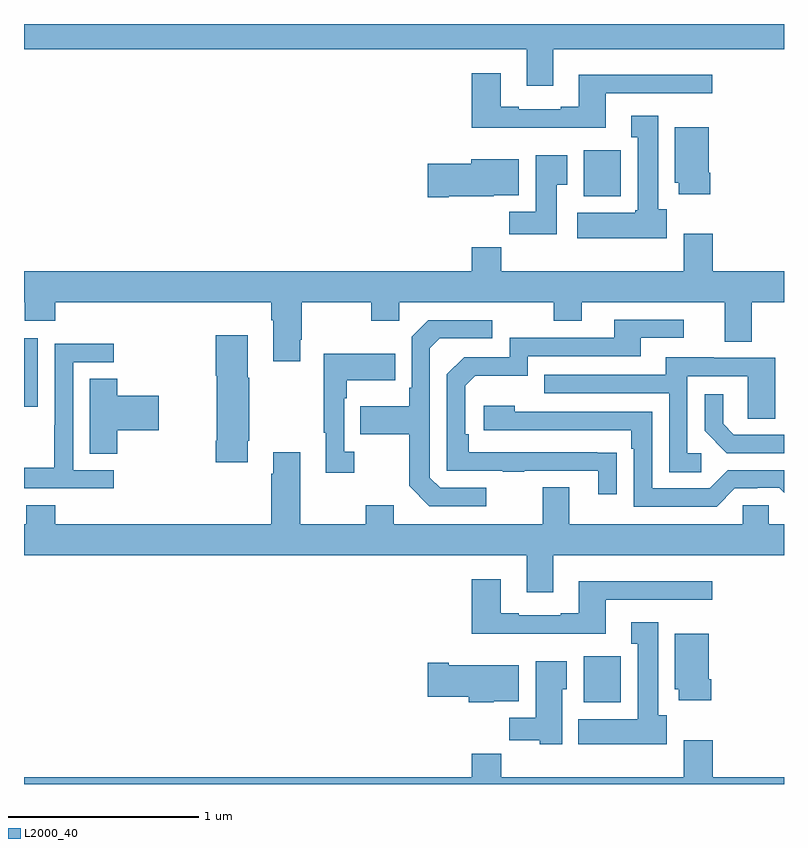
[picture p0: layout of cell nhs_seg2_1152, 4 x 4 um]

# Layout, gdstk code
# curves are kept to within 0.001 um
import gdstk
lib = gdstk.Library(unit=1e-6, precision=1e-09)
def R(c, l, rs):  # rectangles x0, y0, x1, y1
    for r in rs: c.add(gdstk.rectangle(r[:2], r[2:], *l))
def P(c, l, *ps):  # polygons
    for p in ps: c.add(gdstk.Polygon(p, *l))
L2000_40 = (2000, 40)

nhs_seg2_1152 = lib.new_cell('nhs_seg2_1152')
R(nhs_seg2_1152, L2000_40, [(173.945,612.23,174.142,612.472), (171,613.785,171.073,614.146), (173.945,614.894,174.142,615.136)])
P(nhs_seg2_1152, L2000_40, [(173.785,615.668),(175,615.668),(175,615.8),(171,615.8),(171,615.668),(173.645,615.668),(173.645,615.474),(173.785,615.474)],
  [(174.061,615.435),(174.622,615.435),(174.622,615.532),(173.921,615.532),(173.921,615.364),(173.825,615.364),(173.825,615.351),(173.605,615.351),(173.605,615.364),(173.509,615.364),(173.509,615.541),(173.357,615.541),(173.357,615.254),(174.061,615.254)],
  [(174.382,614.826),(174.337,614.826),(174.337,615.316),(174.197,615.316),(174.197,615.203),(174.23,615.203),(174.23,614.82),(174.217,614.82),(174.217,614.806),(173.913,614.806),(173.913,614.672),(174.382,614.672)],
  [(174.612,615.016),(174.604,615.016),(174.604,615.256),(174.425,615.256),(174.425,614.964),(174.446,614.964),(174.446,614.904),(174.612,614.904)],
  [(173.803,614.953),(173.86,614.953),(173.86,615.109),(173.693,615.109),(173.693,614.812),(173.554,614.812),(173.554,614.694),(173.803,614.694)],
  [(173.236,614.894),(173.472,614.894),(173.472,614.9),(173.605,614.9),(173.605,615.088),(173.354,615.088),(173.354,615.065),(173.124,615.065),(173.124,614.887),(173.236,614.887)],
  [(172.453,614.137),(172.461,614.137),(172.461,614.336),(172.828,614.336),(172.828,614.237),(172.974,614.237),(172.974,614.336),(173.788,614.336),(173.788,614.237),(173.935,614.237),(173.935,614.336),(174.689,614.336),(174.689,614.128),(174.829,614.128),(174.829,614.336),(175,614.336),(175,614.5),(174.626,614.5),(174.626,614.695),(174.473,614.695),(174.473,614.5),(173.513,614.5),(173.513,614.624),(173.357,614.624),(173.357,614.5),(171,614.5),(171,614.336),(171.004,614.336),(171.004,614.237),(171.164,614.237),(171.164,614.336),(172.301,614.336),(172.301,614.24),(172.313,614.24),(172.313,614.025),(172.453,614.025)],
  [(174.119,613.544),(173.342,613.545),(173.342,613.642),(173.322,613.642),(173.322,613.896),(173.375,613.949),(173.652,613.949),(173.652,614.052),(174.247,614.052),(174.247,614.148),(174.472,614.148),(174.472,614.244),(174.107,614.244),(174.107,614.148),(173.556,614.148),(173.556,614.046),(173.316,614.046),(173.226,613.956),(173.226,613.449),(173.521,613.449),(173.521,613.444),(173.633,613.444),(173.633,613.449),(174.023,613.449),(174.023,613.326),(174.119,613.326)],
  [(173.434,613.359),(173.19,613.359),(173.136,613.413),(173.136,614.094),(173.187,614.145),(173.464,614.145),(173.464,614.241),(173.127,614.241),(173.04,614.154),(173.04,613.885),(173.028,613.885),(173.028,613.789),(172.771,613.789),(172.771,613.642),(173.028,613.642),(173.028,613.369),(173.133,613.263),(173.434,613.263)],
  [(172.177,613.606),(172.185,613.606),(172.185,613.937),(172.177,613.937),(172.177,614.161),(172.01,614.161),(172.01,613.948),(172.015,613.948),(172.015,613.606),(172.01,613.606),(172.01,613.494),(172.177,613.494)],
  [(171.472,613.452),(171.258,613.452),(171.258,614.019),(171.472,614.019),(171.472,614.118),(171.162,614.118),(171.162,613.688),(171.16,613.688),(171.16,613.465),(171,613.465),(171,613.356),(171.472,613.356)],
  [(172.738,613.55),(172.686,613.55),(172.686,613.829),(172.699,613.829),(172.699,613.925),(172.955,613.925),(172.955,614.065),(172.578,614.065),(172.578,613.649),(172.589,613.649),(172.589,613.437),(172.738,613.437)],
  [(174.565,613.542),(174.492,613.542),(174.492,613.947),(174.81,613.947),(174.81,613.723),(174.955,613.723),(174.955,614.043),(174.631,614.043),(174.631,614.047),(174.377,614.047),(174.377,613.953),(173.737,613.953),(173.737,613.857),(174.396,613.857),(174.396,613.441),(174.565,613.441)],
  [(171.491,613.661),(171.709,613.661),(171.709,613.844),(171.491,613.844),(171.491,613.934),(171.347,613.934),(171.347,613.537),(171.491,613.537)],
  [(175,613.638),(174.736,613.638),(174.679,613.695),(174.679,613.852),(174.582,613.852),(174.582,613.658),(174.698,613.542),(175,613.542)],
  [(174.741,613.356),(174.86,613.356),(174.86,613.359),(174.975,613.359),(175,613.334),(175,613.452),(174.705,613.452),(174.609,613.356),(174.306,613.356),(174.306,613.758),(173.582,613.758),(173.582,613.792),(173.421,613.792),(173.421,613.662),(174.197,613.662),(174.197,613.565),(174.21,613.565),(174.21,613.26),(174.645,613.26)],
  [(173.785,613.004),(175,613.004),(175,613.168),(174.921,613.168),(174.921,613.266),(174.783,613.266),(174.783,613.168),(173.869,613.168),(173.869,613.363),(173.729,613.363),(173.729,613.168),(172.945,613.168),(172.945,613.267),(172.798,613.267),(172.798,613.168),(172.453,613.168),(172.453,613.546),(172.313,613.546),(172.313,613.433),(172.301,613.433),(172.301,613.168),(171.164,613.168),(171.164,613.267),(171.011,613.267),(171.011,613.168),(171,613.168),(171,613.004),(173.645,613.004),(173.645,612.81),(173.785,612.81)],
  [(174.061,612.771),(174.622,612.771),(174.622,612.868),(173.921,612.868),(173.921,612.7),(173.825,612.7),(173.825,612.687),(173.605,612.687),(173.605,612.7),(173.509,612.7),(173.509,612.877),(173.357,612.877),(173.357,612.59),(174.061,612.59)],
  [(174.382,612.162),(174.337,612.162),(174.337,612.652),(174.197,612.652),(174.197,612.539),(174.23,612.539),(174.23,612.142),(173.918,612.142),(173.918,612.008),(174.382,612.008)],
  [(174.617,612.352),(174.604,612.352),(174.604,612.592),(174.425,612.592),(174.425,612.3),(174.446,612.3),(174.446,612.24),(174.617,612.24)],
  [(173.833,612.3),(173.857,612.3),(173.857,612.445),(173.693,612.445),(173.693,612.148),(173.554,612.148),(173.554,612.03),(173.715,612.03),(173.715,612.008),(173.833,612.008)],
  [(173.472,612.236),(173.605,612.236),(173.605,612.424),(173.236,612.424),(173.236,612.437),(173.124,612.437),(173.124,612.259),(173.342,612.259),(173.342,612.23),(173.472,612.23)],
  [(175,611.836),(174.626,611.836),(174.626,612.031),(174.473,612.031),(174.473,611.836),(173.513,611.836),(173.513,611.96),(173.357,611.96),(173.357,611.836),(171,611.836),(171,611.8),(175,611.8)])

lib.write_gds('nhs_seg2_1152.gds')
